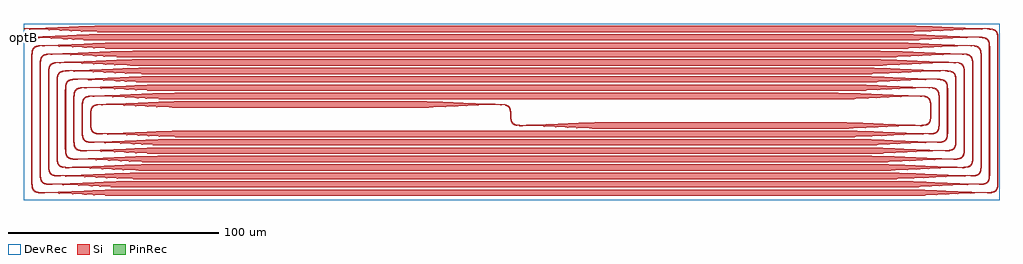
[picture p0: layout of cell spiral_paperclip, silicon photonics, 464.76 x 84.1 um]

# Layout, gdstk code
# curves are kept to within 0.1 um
import gdstk
lib = gdstk.Library(unit=1e-6, precision=1e-09)
def R(c, l, rs):  # rectangles x0, y0, x1, y1
    for r in rs: c.add(gdstk.rectangle(r[:2], r[2:], *l))
def P(c, l, *ps):  # polygons
    for p in ps: c.add(gdstk.Polygon(p, *l))
Si = (1, 0)
PinRec = (1, 10)
DevRec = (68, 0)

spiral_paperclip = lib.new_cell('spiral_paperclip')
R(spiral_paperclip, Si, [(-183,-38.5,187,-35.5), (-179,-34.5,183,-31.5), (-175,-30.5,179,-27.5), (-171,-26.5,175,-23.5), (-167,-22.5,171,-19.5), (-163,-18.5,167,-15.5), (-159,-14.5,163,-11.5), (-155,-10.5,159,-7.5), (45,-6.5,155,-3.5), (-155,3.5,-45,6.5), (-159,7.5,155,10.5), (-163,11.5,159,14.5), (-167,15.5,163,18.5), (-171,19.5,167,22.5), (-175,23.5,171,26.5), (-179,27.5,175,30.5), (-183,31.5,179,34.5), (-192,35.5,183,38.5), (-192,39.5,187,42.5)])
P(spiral_paperclip, Si, [(187,-38.5),(187,-35.5),(197.28,-35.693),(218.12,-36.605),(227,-36.75),(227,-37.25),(218.28,-37.39),(197.28,-38.307)],
  [(183,-34.5),(183,-31.5),(193.28,-31.693),(214.12,-32.605),(223,-32.75),(223,-33.25),(214.28,-33.39),(193.28,-34.307)],
  [(179,-30.5),(179,-27.5),(189.28,-27.693),(210.12,-28.605),(219,-28.75),(219,-29.25),(210.28,-29.39),(189.28,-30.307)],
  [(175,-26.5),(175,-23.5),(185.28,-23.693),(206.12,-24.605),(215,-24.75),(215,-25.25),(206.28,-25.39),(185.28,-26.307)],
  [(171,-22.5),(171,-19.5),(181.28,-19.693),(202.12,-20.605),(211,-20.75),(211,-21.25),(202.28,-21.39),(181.28,-22.307)],
  [(167,-18.5),(167,-15.5),(177.28,-15.693),(198.12,-16.605),(207,-16.75),(207,-17.25),(198.28,-17.39),(177.28,-18.307)],
  [(163,-14.5),(163,-11.5),(173.28,-11.693),(194.12,-12.605),(203,-12.75),(203,-13.25),(194.28,-13.39),(173.28,-14.307)],
  [(159,-10.5),(159,-7.5),(169.28,-7.693),(190.12,-8.605),(199,-8.75),(199,-9.25),(190.28,-9.39),(169.28,-10.307)],
  [(155,-6.5),(155,-3.5),(165.28,-3.693),(186.12,-4.605),(195,-4.75),(195,-5.25),(186.28,-5.39),(165.28,-6.307)],
  [(-45,3.5),(-45,6.5),(-34.72,6.307),(-13.88,5.395),(-5,5.25),(-5,4.75),(-13.72,4.61),(-34.72,3.693)],
  [(155,7.5),(155,10.5),(165.28,10.307),(186.12,9.395),(195,9.25),(195,8.75),(186.28,8.61),(165.28,7.693)],
  [(159,11.5),(159,14.5),(169.28,14.307),(190.12,13.395),(199,13.25),(199,12.75),(190.28,12.61),(169.28,11.693)],
  [(163,15.5),(163,18.5),(173.28,18.307),(194.12,17.395),(203,17.25),(203,16.75),(194.28,16.61),(173.28,15.693)],
  [(167,19.5),(167,22.5),(177.28,22.307),(198.12,21.395),(207,21.25),(207,20.75),(198.28,20.61),(177.28,19.693)],
  [(171,23.5),(171,26.5),(181.28,26.307),(202.12,25.395),(211,25.25),(211,24.75),(202.28,24.61),(181.28,23.693)],
  [(175,27.5),(175,30.5),(185.28,30.307),(206.12,29.395),(215,29.25),(215,28.75),(206.28,28.61),(185.28,27.693)],
  [(179,31.5),(179,34.5),(189.28,34.307),(210.12,33.395),(219,33.25),(219,32.75),(210.28,32.61),(189.28,31.693)],
  [(183,35.5),(183,38.5),(193.28,38.307),(214.12,37.395),(223,37.25),(223,36.75),(214.28,36.61),(193.28,35.693)],
  [(187,39.5),(187,42.5),(197.28,42.307),(218.12,41.395),(227,41.25),(227,40.75),(218.28,40.61),(197.28,39.693)],
  [(-183,-38.5),(-193.28,-38.307),(-214.12,-37.395),(-223,-37.25),(-223,-36.75),(-214.28,-36.61),(-193.28,-35.693),(-183,-35.5)],
  [(-179,-34.5),(-189.28,-34.307),(-210.12,-33.395),(-219,-33.25),(-219,-32.75),(-210.28,-32.61),(-189.28,-31.693),(-179,-31.5)],
  [(-175,-30.5),(-185.28,-30.307),(-206.12,-29.395),(-215,-29.25),(-215,-28.75),(-206.28,-28.61),(-185.28,-27.693),(-175,-27.5)],
  [(-171,-26.5),(-181.28,-26.307),(-202.12,-25.395),(-211,-25.25),(-211,-24.75),(-202.28,-24.61),(-181.28,-23.693),(-171,-23.5)],
  [(-167,-22.5),(-177.28,-22.307),(-198.12,-21.395),(-207,-21.25),(-207,-20.75),(-198.28,-20.61),(-177.28,-19.693),(-167,-19.5)],
  [(-163,-18.5),(-173.28,-18.307),(-194.12,-17.395),(-203,-17.25),(-203,-16.75),(-194.28,-16.61),(-173.28,-15.693),(-163,-15.5)],
  [(-159,-14.5),(-169.28,-14.307),(-190.12,-13.395),(-199,-13.25),(-199,-12.75),(-190.28,-12.61),(-169.28,-11.693),(-159,-11.5)],
  [(-155,-10.5),(-165.28,-10.307),(-186.12,-9.395),(-195,-9.25),(-195,-8.75),(-186.28,-8.61),(-165.28,-7.693),(-155,-7.5)],
  [(45,-6.5),(34.72,-6.307),(13.88,-5.395),(5,-5.25),(5,-4.75),(13.72,-4.61),(34.72,-3.693),(45,-3.5)],
  [(-155,3.5),(-165.28,3.693),(-186.12,4.605),(-195,4.75),(-195,5.25),(-186.28,5.39),(-165.28,6.307),(-155,6.5)],
  [(-159,7.5),(-169.28,7.693),(-190.12,8.605),(-199,8.75),(-199,9.25),(-190.28,9.39),(-169.28,10.307),(-159,10.5)],
  [(-163,11.5),(-173.28,11.693),(-194.12,12.605),(-203,12.75),(-203,13.25),(-194.28,13.39),(-173.28,14.307),(-163,14.5)],
  [(-167,15.5),(-177.28,15.693),(-198.12,16.605),(-207,16.75),(-207,17.25),(-198.28,17.39),(-177.28,18.307),(-167,18.5)],
  [(-171,19.5),(-181.28,19.693),(-202.12,20.605),(-211,20.75),(-211,21.25),(-202.28,21.39),(-181.28,22.307),(-171,22.5)],
  [(-175,23.5),(-185.28,23.693),(-206.12,24.605),(-215,24.75),(-215,25.25),(-206.28,25.39),(-185.28,26.307),(-175,26.5)],
  [(-179,27.5),(-189.28,27.693),(-210.12,28.605),(-219,28.75),(-219,29.25),(-210.28,29.39),(-189.28,30.307),(-179,30.5)],
  [(-183,31.5),(-193.28,31.693),(-214.12,32.605),(-223,32.75),(-223,33.25),(-214.28,33.39),(-193.28,34.307),(-183,34.5)],
  [(-192,35.5),(-202.28,35.693),(-223.12,36.605),(-232,36.75),(-232,37.25),(-223.28,37.39),(-202.28,38.307),(-192,38.5)],
  [(-192,39.5),(-202.28,39.693),(-223.12,40.605),(-232,40.75),(-232,41.25),(-223.28,41.39),(-202.28,42.307),(-192,42.5)],
  [(-223.003,-37.25),(-224.432,-37.194),(-225.45,-37.042),(-226.298,-36.769),(-226.881,-36.432),(-227.433,-35.88),(-227.77,-35.297),(-228.043,-34.449),(-228.195,-33.431),(-228.25,-32),(-228.25,28.003),(-228.194,29.432),(-228.005,30.604),(-227.647,31.544),(-227.177,32.177),(-226.543,32.648),(-225.603,33.006),(-224.431,33.195),(-223,33.25),(-223,32.75),(-224.385,32.697),(-225.479,32.522),(-226.303,32.21),(-226.896,31.747),(-227.313,31.094),(-227.554,30.342),(-227.711,29.207),(-227.75,28),(-227.712,-33.206),(-227.585,-34.196),(-227.406,-34.864),(-227.094,-35.493),(-226.668,-35.965),(-226.094,-36.313),(-225.342,-36.554),(-224.207,-36.711),(-222.999,-36.75)],
  [(-215.003,-29.25),(-216.243,-29.209),(-217.293,-29.074),(-218.168,-28.824),(-218.772,-28.509),(-219.267,-28.082),(-219.711,-27.422),(-220.006,-26.603),(-220.177,-25.613),(-220.25,-24),(-220.25,20.003),(-220.194,21.432),(-220.005,22.604),(-219.647,23.544),(-219.177,24.177),(-218.543,24.648),(-217.603,25.006),(-216.431,25.195),(-215,25.25),(-215,24.75),(-216.385,24.697),(-217.479,24.522),(-218.303,24.21),(-218.896,23.747),(-219.313,23.094),(-219.554,22.342),(-219.711,21.207),(-219.75,20),(-219.75,-24),(-219.697,-25.385),(-219.555,-26.341),(-219.361,-26.981),(-219.094,-27.493),(-218.668,-27.965),(-218.094,-28.313),(-217.342,-28.554),(-216.207,-28.711),(-214.999,-28.75)],
  [(-207.003,-21.25),(-208.243,-21.209),(-209.293,-21.074),(-210.168,-20.824),(-210.772,-20.509),(-211.267,-20.082),(-211.648,-19.543),(-211.923,-18.893),(-212.132,-17.963),(-212.25,-16),(-212.25,12.003),(-212.194,13.432),(-212.005,14.604),(-211.647,15.544),(-211.177,16.177),(-210.543,16.648),(-209.603,17.006),(-208.431,17.195),(-207,17.25),(-207,16.75),(-208.385,16.697),(-209.479,16.522),(-210.303,16.21),(-210.896,15.747),(-211.313,15.094),(-211.554,14.342),(-211.711,13.207),(-211.75,12),(-211.75,-16),(-211.638,-17.889),(-211.486,-18.612),(-211.263,-19.2),(-210.966,-19.667),(-210.583,-20.03),(-209.982,-20.36),(-209.197,-20.584),(-208.207,-20.711),(-206.999,-20.75)],
  [(-199.003,-13.25),(-200.432,-13.194),(-201.604,-13.005),(-202.423,-12.71),(-203.083,-12.266),(-203.581,-11.66),(-203.923,-10.893),(-204.132,-9.963),(-204.241,-8.647),(-204.245,4.438),(-204.176,5.614),(-204.005,6.604),(-203.769,7.298),(-203.509,7.772),(-203.177,8.177),(-202.66,8.581),(-202.167,8.825),(-201.449,9.043),(-199.647,9.241),(-199,9.25),(-199,8.75),(-201.044,8.613),(-201.741,8.447),(-202.303,8.21),(-202.746,7.897),(-203.093,7.494),(-203.36,6.982),(-203.554,6.342),(-203.696,5.386),(-203.748,4.217),(-203.741,-8.631),(-203.66,-9.728),(-203.486,-10.612),(-203.21,-11.303),(-202.823,-11.823),(-202.304,-12.209),(-201.48,-12.521),(-200.386,-12.696),(-198.999,-12.75)],
  [(4.997,-5.25),(3.568,-5.194),(2.396,-5.005),(1.456,-4.647),(0.823,-4.177),(0.289,-3.422),(-0.043,-2.449),(-0.21,-1.242),(-0.363,1.89),(-0.554,2.742),(-0.848,3.401),(-1.418,4.031),(-2.259,4.447),(-3.441,4.679),(-5,4.75),(-5,5.25),(-3.569,5.195),(-2.397,5.006),(-1.457,4.648),(-0.823,4.177),(-0.29,3.423),(0.042,2.45),(0.209,1.243),(0.362,-1.889),(0.553,-2.741),(0.847,-3.4),(1.417,-4.03),(2.258,-4.446),(3.44,-4.678),(5.001,-4.75)],
  [(227,-37.25),(227,-36.75),(228.385,-36.697),(229.479,-36.522),(230.303,-36.21),(230.896,-35.747),(231.313,-35.094),(231.554,-34.342),(231.711,-33.207),(231.75,-32),(231.712,37.206),(231.585,38.196),(231.406,38.864),(231.094,39.493),(230.668,39.965),(230.094,40.313),(229.342,40.554),(228.207,40.711),(226.999,40.75),(227.003,41.25),(228.432,41.194),(229.45,41.042),(230.298,40.769),(230.881,40.432),(231.433,39.88),(231.825,39.167),(232.075,38.292),(232.21,37.242),(232.25,-32.003),(232.194,-33.432),(232.005,-34.604),(231.647,-35.544),(231.177,-36.177),(230.543,-36.648),(229.603,-37.006),(228.431,-37.195)],
  [(219,-29.25),(219,-28.75),(220.385,-28.697),(221.479,-28.522),(222.303,-28.21),(222.896,-27.747),(223.313,-27.094),(223.554,-26.342),(223.711,-25.207),(223.75,-24),(223.712,29.206),(223.585,30.196),(223.406,30.864),(223.094,31.493),(222.668,31.965),(222.094,32.313),(221.342,32.554),(220.207,32.711),(218.999,32.75),(219.003,33.25),(220.432,33.194),(221.45,33.042),(222.298,32.769),(222.881,32.432),(223.433,31.88),(223.77,31.297),(224.043,30.449),(224.195,29.431),(224.25,28),(224.25,-24.003),(224.194,-25.432),(224.005,-26.604),(223.647,-27.544),(223.177,-28.177),(222.543,-28.648),(221.603,-29.006),(220.431,-29.195)],
  [(211,-21.25),(211,-20.75),(212.385,-20.697),(213.479,-20.522),(214.303,-20.21),(214.896,-19.747),(215.313,-19.094),(215.554,-18.342),(215.711,-17.207),(215.75,-16),(215.75,20),(215.66,21.728),(215.522,22.479),(215.314,23.093),(214.966,23.667),(214.583,24.03),(213.982,24.36),(213.197,24.584),(212.207,24.711),(210.999,24.75),(211.003,25.25),(212.243,25.209),(213.293,25.074),(214.168,24.824),(214.772,24.509),(215.267,24.082),(215.711,23.422),(215.966,22.75),(216.156,21.79),(216.25,20),(216.25,-16.003),(216.194,-17.432),(216.005,-18.604),(215.647,-19.544),(215.177,-20.177),(214.543,-20.648),(213.603,-21.006),(212.431,-21.195)],
  [(203,-13.25),(203,-12.75),(204.385,-12.697),(205.479,-12.522),(206.303,-12.21),(206.896,-11.747),(207.313,-11.094),(207.554,-10.342),(207.711,-9.207),(207.75,-8),(207.749,12.217),(207.585,14.196),(207.21,15.303),(206.897,15.746),(206.494,16.093),(205.865,16.405),(205.197,16.584),(204.207,16.711),(202.999,16.75),(203.003,17.25),(205.131,17.104),(205.894,16.922),(206.544,16.647),(207.083,16.266),(207.51,15.771),(207.825,15.167),(208.043,14.449),(208.195,13.431),(208.249,12.221),(208.25,-8.003),(208.194,-9.432),(208.005,-10.604),(207.647,-11.544),(207.177,-12.177),(206.543,-12.648),(205.603,-13.006),(204.431,-13.195)],
  [(195,-5.25),(195,-4.75),(196.206,-4.712),(197.341,-4.555),(198.093,-4.314),(198.667,-3.966),(199.03,-3.583),(199.313,-3.094),(199.554,-2.342),(199.678,-1.56),(199.748,-0.217),(199.746,4.427),(199.66,5.728),(199.486,6.612),(199.263,7.2),(198.966,7.667),(198.583,8.03),(198.094,8.313),(196.89,8.637),(194.999,8.75),(195,9.25),(196.614,9.176),(197.894,8.922),(198.772,8.509),(199.433,7.88),(199.923,6.893),(200.132,5.963),(200.241,4.647),(200.248,-0.223),(200.176,-1.614),(200.005,-2.604),(199.71,-3.423),(199.266,-4.083),(198.771,-4.51),(198.167,-4.825),(197.292,-5.075),(196.242,-5.21)],
  [(199,-9.25),(198.999,-8.75),(200.386,-8.696),(201.48,-8.521),(202.304,-8.209),(202.823,-7.823),(203.21,-7.303),(203.486,-6.612),(203.66,-5.728),(203.741,-4.631),(203.748,8.217),(203.696,9.386),(203.554,10.342),(203.36,10.982),(203.093,11.494),(202.746,11.897),(202.303,12.21),(201.741,12.447),(201.044,12.613),(199,12.75),(199,13.25),(199.647,13.241),(201.449,13.043),(202.167,12.825),(202.66,12.581),(203.177,12.177),(203.509,11.772),(203.769,11.298),(204.005,10.604),(204.176,9.614),(204.245,8.438),(204.241,-4.647),(204.132,-5.963),(203.923,-6.893),(203.581,-7.66),(203.083,-8.266),(202.423,-8.71),(201.604,-9.005),(200.432,-9.194)],
  [(223,-33.25),(222.999,-32.75),(224.386,-32.696),(225.48,-32.521),(226.304,-32.209),(226.897,-31.746),(227.314,-31.093),(227.555,-30.341),(227.712,-29.206),(227.75,-28),(227.711,33.207),(227.584,34.197),(227.405,34.865),(227.093,35.494),(226.667,35.966),(226.093,36.314),(225.341,36.555),(224.206,36.712),(223,36.75),(223,37.25),(224.431,37.195),(225.603,37.006),(226.543,36.648),(227.177,36.177),(227.647,35.544),(228.005,34.604),(228.194,33.432),(228.25,32.003),(228.25,-28),(228.195,-29.431),(228.043,-30.449),(227.77,-31.297),(227.433,-31.88),(226.881,-32.432),(226.298,-32.769),(225.45,-33.042),(224.432,-33.194)],
  [(215,-25.25),(214.999,-24.75),(216.386,-24.696),(217.48,-24.521),(218.304,-24.209),(218.897,-23.746),(219.314,-23.093),(219.555,-22.341),(219.712,-21.206),(219.75,-20),(219.75,24),(219.696,25.386),(219.554,26.342),(219.36,26.982),(219.093,27.494),(218.667,27.966),(218.093,28.314),(217.341,28.555),(216.206,28.712),(215,28.75),(215,29.25),(216.431,29.195),(217.603,29.006),(218.543,28.648),(219.177,28.177),(219.647,27.544),(220.005,26.604),(220.194,25.432),(220.25,24.003),(220.25,-20),(220.177,-21.613),(220.006,-22.603),(219.711,-23.422),(219.267,-24.082),(218.772,-24.509),(218.168,-24.824),(217.293,-25.074),(216.243,-25.209)],
  [(207,-17.25),(206.999,-16.75),(208.386,-16.696),(209.48,-16.521),(210.304,-16.209),(210.897,-15.746),(211.314,-15.093),(211.555,-14.341),(211.712,-13.206),(211.75,-12),(211.75,16),(211.637,17.89),(211.485,18.613),(211.262,19.201),(210.965,19.668),(210.582,20.031),(209.981,20.361),(209.196,20.585),(208.206,20.712),(207,20.75),(207,21.25),(208.431,21.195),(209.603,21.006),(210.543,20.648),(211.177,20.177),(211.647,19.544),(212.005,18.604),(212.194,17.432),(212.25,16.003),(212.25,-12),(212.132,-13.963),(211.923,-14.893),(211.648,-15.543),(211.267,-16.082),(210.772,-16.509),(210.168,-16.824),(209.293,-17.074),(208.243,-17.209)],
  [(-195,-9.25),(-196.242,-9.21),(-197.292,-9.075),(-198.167,-8.825),(-198.771,-8.51),(-199.266,-8.083),(-199.71,-7.423),(-200.005,-6.604),(-200.176,-5.614),(-200.248,-4.223),(-200.241,0.647),(-200.132,1.963),(-199.923,2.893),(-199.433,3.88),(-198.772,4.509),(-197.894,4.922),(-196.614,5.176),(-195,5.25),(-194.999,4.75),(-196.89,4.637),(-198.094,4.313),(-198.583,4.03),(-198.966,3.667),(-199.263,3.2),(-199.486,2.612),(-199.66,1.728),(-199.746,0.427),(-199.748,-4.217),(-199.678,-5.56),(-199.554,-6.342),(-199.313,-7.094),(-199.03,-7.583),(-198.667,-7.966),(-198.093,-8.314),(-197.341,-8.555),(-196.206,-8.712),(-195,-8.75)],
  [(-219,-33.25),(-220.431,-33.195),(-221.603,-33.006),(-222.543,-32.648),(-223.177,-32.177),(-223.647,-31.544),(-224.005,-30.604),(-224.194,-29.432),(-224.25,-28.003),(-224.25,24),(-224.195,25.431),(-224.043,26.449),(-223.77,27.297),(-223.433,27.88),(-222.881,28.432),(-222.298,28.769),(-221.45,29.042),(-220.432,29.194),(-219.003,29.25),(-218.999,28.75),(-220.207,28.711),(-221.342,28.554),(-222.094,28.313),(-222.668,27.965),(-223.094,27.493),(-223.406,26.864),(-223.585,26.196),(-223.712,25.206),(-223.75,-28),(-223.711,-29.207),(-223.554,-30.342),(-223.313,-31.094),(-222.896,-31.747),(-222.303,-32.21),(-221.479,-32.522),(-220.385,-32.697),(-219,-32.75)],
  [(-211,-25.25),(-212.431,-25.195),(-213.603,-25.006),(-214.543,-24.648),(-215.177,-24.177),(-215.647,-23.544),(-216.005,-22.604),(-216.194,-21.432),(-216.25,-20.003),(-216.25,16),(-216.156,17.79),(-215.966,18.75),(-215.711,19.422),(-215.267,20.082),(-214.772,20.509),(-214.168,20.824),(-213.293,21.074),(-212.243,21.209),(-211.003,21.25),(-210.999,20.75),(-212.207,20.711),(-213.197,20.584),(-213.982,20.36),(-214.583,20.03),(-214.966,19.667),(-215.314,19.093),(-215.522,18.479),(-215.66,17.728),(-215.75,16),(-215.75,-20),(-215.711,-21.207),(-215.554,-22.342),(-215.313,-23.094),(-214.896,-23.747),(-214.303,-24.21),(-213.479,-24.522),(-212.385,-24.697),(-211,-24.75)],
  [(-203,-17.25),(-204.431,-17.195),(-205.603,-17.006),(-206.543,-16.648),(-207.177,-16.177),(-207.647,-15.544),(-208.005,-14.604),(-208.194,-13.432),(-208.25,-12.003),(-208.249,8.221),(-208.195,9.431),(-208.043,10.449),(-207.825,11.167),(-207.51,11.771),(-207.083,12.266),(-206.544,12.647),(-205.894,12.922),(-205.131,13.104),(-203.003,13.25),(-202.999,12.75),(-204.207,12.711),(-205.197,12.584),(-205.865,12.405),(-206.494,12.093),(-206.897,11.746),(-207.21,11.303),(-207.585,10.196),(-207.749,8.217),(-207.75,-12),(-207.711,-13.207),(-207.554,-14.342),(-207.313,-15.094),(-206.896,-15.747),(-206.303,-16.21),(-205.479,-16.522),(-204.385,-16.697),(-203,-16.75)])
R(spiral_paperclip, DevRec, [(-232,-40.6,232.75,43.5)])
spiral_paperclip.add(gdstk.FlexPath([(-231.99,37),(-232.01,37)], 0.5, ends="flush", simple_path=True, layer=1, datatype=10))  # PinRec
spiral_paperclip.add(gdstk.FlexPath([(-231.99,41),(-232.01,41)], 0.5, ends="flush", simple_path=True, layer=1, datatype=10))  # PinRec
spiral_paperclip.add(gdstk.Label('optB', (-232,37), layer=1, texttype=10))
spiral_paperclip.add(gdstk.Label('optA', (-232,41), layer=1, texttype=10))

lib.write_gds('spiral_paperclip.gds')
